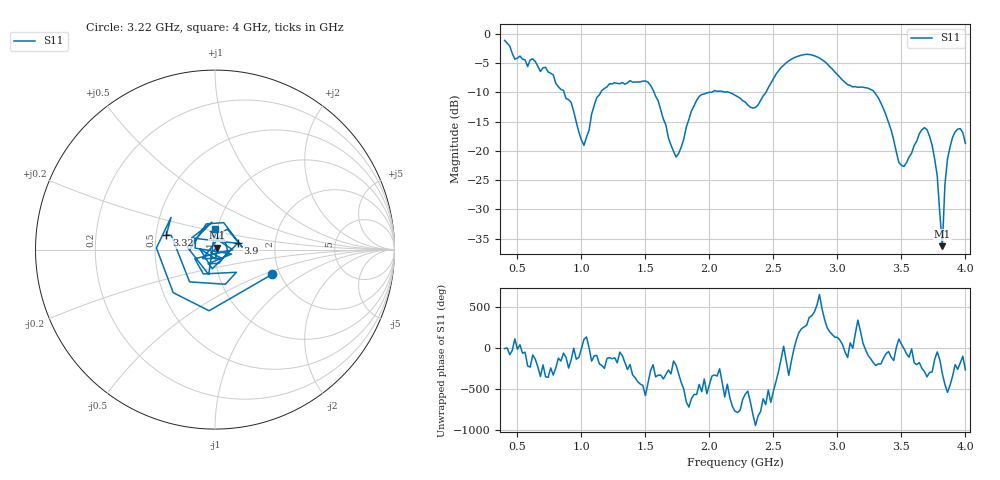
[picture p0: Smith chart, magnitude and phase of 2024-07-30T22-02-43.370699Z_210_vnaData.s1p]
!Created with skrf (http://scikit-rf.org).
# Hz S RI R 50.0
!freq ReS11 ImS11
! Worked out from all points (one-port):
!   181 points, 400 MHz to 4 GHz, reference 50 ohm
!   lowest |S11| = -36.3 dB at 3.82 GHz (marker M1), VSWR 1.03, Z = 51.2 + j1.04 ohm
!   |S11| at or under -10 dB: 1.567 GHz to 2.004 GHz (436.6 MHz wide, 24.5 % of centre); 2.152 GHz to 2.442 GHz (289.7 MHz wide, 12.6 % of centre); 3.289 GHz to end of sweep (the widest 3 of 4)
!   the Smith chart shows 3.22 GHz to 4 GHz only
!   S11 on the Smith chart (normalised r, x): 3.22 GHz: 1.81, -0.57; 3.32 GHz: 0.57, +0.10; 3.9 GHz: 1.29, +0.09; 4 GHz: 0.97, +0.23
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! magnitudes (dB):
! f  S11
! 400 MHz  -1.2
! 480 MHz  -4.3
! 620 MHz  -4.3
! 860 MHz  -9.7
! 1.02 GHz  -19.1
! 1.12 GHz  -10.9
! 1.3 GHz  -8.5
! 1.52 GHz  -8.3
! 1.72 GHz  -20.1
! 1.76 GHz  -20.4
! 1.92 GHz  -10.7
! 2.2 GHz  -10.5
! 2.36 GHz  -12.6
! 2.66 GHz  -4.1
! 2.84 GHz  -3.9
! 3.1 GHz  -8.8
! 3.22 GHz  -9.2
! 3.32 GHz  -11.0
! 3.48 GHz  -22.0
! 3.56 GHz  -21.1
! 3.66 GHz  -16.4
! 3.72 GHz  -17.5
! 3.78 GHz  -24.2
! 3.82 GHz  -36.3
! 3.84 GHz  -25.8
! 3.9 GHz  -17.7
! 3.96 GHz  -16.2
! 4 GHz  -18.7
